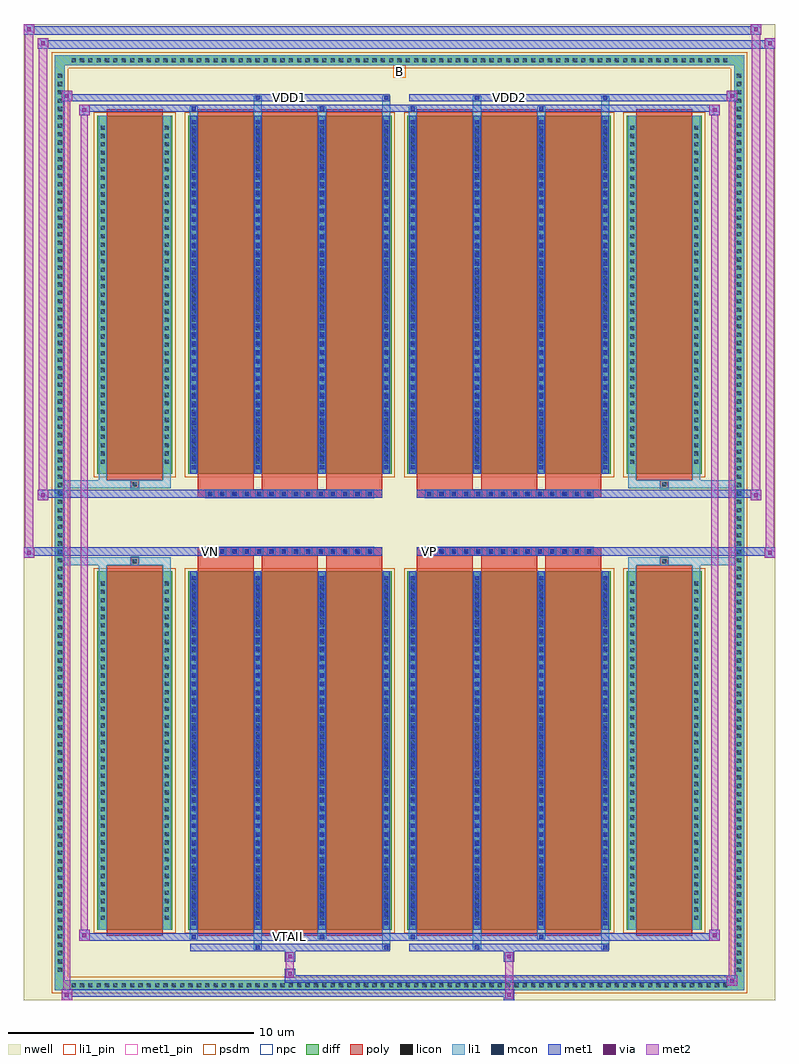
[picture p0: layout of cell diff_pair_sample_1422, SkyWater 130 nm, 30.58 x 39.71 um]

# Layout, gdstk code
import gdstk
lib = gdstk.Library(unit=1e-6, precision=5e-09)
def R(c, l, rs):  # rectangles x0, y0, x1, y1
    for r in rs: c.add(gdstk.rectangle(r[:2], r[2:], *l))
def A(c, l, x, y, w, h, nx, ny, dx, dy):  # array of equal rectangles
    R(c, l, [(x+i*dx, y+j*dy, x+i*dx+w, y+j*dy+h) for i in range(nx) for j in range(ny)])
def P(c, l, *ps):  # polygons
    for p in ps: c.add(gdstk.Polygon(p, *l))
nwell = (64, 20)
diff = (65, 20)
poly = (66, 20)
licon = (66, 44)
li1_pin = (67, 16)
li1 = (67, 20)
mcon = (67, 44)
met1_pin = (68, 16)
met1 = (68, 20)
via = (68, 44)
met2 = (69, 20)
psdm = (94, 20)
npc = (95, 20)

diff_pair_sample_1422 = lib.new_cell('diff_pair_sample_1422')
R(diff_pair_sample_1422, nwell, [(-15.29,-19.42,15.29,20.29), (-12.61,-17.61,-0.01,-0.805), (0.01,-17.61,12.61,-0.805), (-12.61,0.805,-0.01,17.61), (0.01,0.805,12.61,17.61)])
A(diff_pair_sample_1422, diff, -13.465, -19.02, 0.41, 0.41, 79, 2, 0.34, 37.63)
A(diff_pair_sample_1422, diff, -14.02, -18.395, 0.41, 0.41, 1, 108, 0, 0.34)
A(diff_pair_sample_1422, diff, 13.61, -18.395, 0.41, 0.41, 1, 108, 0, 0.34)
R(diff_pair_sample_1422, diff, [(-13.465,-19.02,13.465,-18.61), (-14.02,-18.395,-13.61,18.395), (13.61,-18.395,14.02,18.395), (-12.3,-16.565,-9.24,-1.985), (-8.6,-16.565,-0.32,-1.985), (0.32,-16.565,8.6,-1.985), (9.24,-16.565,12.3,-1.985), (-12.3,1.985,-9.24,16.565), (-8.6,1.985,-0.32,16.565), (0.32,1.985,8.6,16.565), (9.24,1.985,12.3,16.565), (-13.465,18.61,13.465,19.02)])
P(diff_pair_sample_1422, diff, [(14.02,19.02),(-14.02,19.02),(-14.02,-18.61),(-13.61,-18.61),(-13.61,18.61),(13.61,18.61),(13.61,-18.61),(-13.61,-18.61),(-14.02,-18.61),(-14.02,-19.02),(14.02,-19.02)])
A(diff_pair_sample_1422, poly, -8.21, -16.815, 2.28, 15.08, 3, 2, 2.61, 18.55)
A(diff_pair_sample_1422, poly, 0.71, -16.815, 2.28, 15.08, 3, 2, 2.61, 18.55)
A(diff_pair_sample_1422, poly, -8.21, -1.735, 2.28, 0.4, 3, 2, 2.61, 3.07)
A(diff_pair_sample_1422, poly, 0.71, -1.735, 2.28, 0.4, 3, 2, 2.61, 3.07)
A(diff_pair_sample_1422, poly, -7.875, -1.335, 0.33, 0.33, 14, 2, 0.5, 2.34)
A(diff_pair_sample_1422, poly, 1.045, -1.335, 0.33, 0.33, 14, 2, 0.5, 2.34)
R(diff_pair_sample_1422, poly, [(-11.91,-16.815,-9.63,-1.735), (9.63,-16.815,11.91,-1.735), (-10.935,-1.735,-10.605,-1.405), (-10.935,-1.735,-10.605,-1.405), (10.605,-1.735,10.935,-1.405), (10.605,-1.735,10.935,-1.405), (-8.21,-1.335,-0.71,-1.005), (0.71,-1.335,8.21,-1.005), (-8.21,1.005,-0.71,1.335), (0.71,1.005,8.21,1.335), (-10.935,1.405,-10.605,1.735), (-10.935,1.405,-10.605,1.735), (10.605,1.405,10.935,1.735), (10.605,1.405,10.935,1.735), (-11.91,1.735,-9.63,16.815), (9.63,1.735,11.91,16.815)])
A(diff_pair_sample_1422, licon, -13.345, -18.9, 0.17, 0.17, 79, 2, 0.34, 37.63)
A(diff_pair_sample_1422, licon, -13.9, -18.275, 0.17, 0.17, 1, 108, 0, 0.34)
A(diff_pair_sample_1422, licon, 13.73, -18.275, 0.17, 0.17, 1, 108, 0, 0.34)
A(diff_pair_sample_1422, licon, -12.16, -16.16, 0.17, 0.17, 1, 41, 0, 0.34)
A(diff_pair_sample_1422, licon, -9.55, -16.16, 0.17, 0.17, 1, 41, 0, 0.34)
A(diff_pair_sample_1422, licon, -8.46, -16.16, 0.17, 0.17, 4, 41, 2.61, 0.34)
A(diff_pair_sample_1422, licon, 0.46, -16.16, 0.17, 0.17, 4, 41, 2.61, 0.34)
A(diff_pair_sample_1422, licon, 9.38, -16.16, 0.17, 0.17, 1, 41, 0, 0.34)
A(diff_pair_sample_1422, licon, 11.99, -16.16, 0.17, 0.17, 1, 41, 0, 0.34)
A(diff_pair_sample_1422, licon, -7.795, -1.255, 0.17, 0.17, 14, 2, 0.5, 2.34)
A(diff_pair_sample_1422, licon, 1.125, -1.255, 0.17, 0.17, 14, 2, 0.5, 2.34)
A(diff_pair_sample_1422, licon, -12.16, 2.39, 0.17, 0.17, 1, 41, 0, 0.34)
A(diff_pair_sample_1422, licon, -9.55, 2.39, 0.17, 0.17, 1, 41, 0, 0.34)
A(diff_pair_sample_1422, licon, -8.46, 2.39, 0.17, 0.17, 4, 41, 2.61, 0.34)
A(diff_pair_sample_1422, licon, 0.46, 2.39, 0.17, 0.17, 4, 41, 2.61, 0.34)
A(diff_pair_sample_1422, licon, 9.38, 2.39, 0.17, 0.17, 1, 41, 0, 0.34)
A(diff_pair_sample_1422, licon, 11.99, 2.39, 0.17, 0.17, 1, 41, 0, 0.34)
R(diff_pair_sample_1422, licon, [(-10.855,-1.655,-10.685,-1.485), (10.685,-1.655,10.855,-1.485), (-10.855,1.485,-10.685,1.655), (10.685,1.485,10.855,1.655)])
R(diff_pair_sample_1422, li1_pin, [(-0.25,18.11,0.25,18.61)])
A(diff_pair_sample_1422, li1, -13.425, -18.98, 0.33, 0.33, 79, 2, 0.34, 37.63)
A(diff_pair_sample_1422, li1, -13.98, -18.355, 0.33, 0.33, 1, 108, 0, 0.34)
A(diff_pair_sample_1422, li1, 13.65, -18.355, 0.33, 0.33, 1, 108, 0, 0.34)
A(diff_pair_sample_1422, li1, -8.54, -16.565, 0.33, 14.58, 4, 2, 2.61, 18.55)
A(diff_pair_sample_1422, li1, 0.38, -16.565, 0.33, 14.58, 4, 2, 2.61, 18.55)
A(diff_pair_sample_1422, li1, -8.46, -16.38, 0.17, 0.17, 4, 40, 2.61, 0.36)
A(diff_pair_sample_1422, li1, -8.46, -16.38, 0.17, 14.21, 4, 2, 2.61, 18.55)
A(diff_pair_sample_1422, li1, 0.46, -16.38, 0.17, 0.17, 4, 40, 2.61, 0.36)
A(diff_pair_sample_1422, li1, 0.46, -16.38, 0.17, 14.21, 4, 2, 2.61, 18.55)
A(diff_pair_sample_1422, li1, -12.24, -16.24, 0.33, 0.33, 1, 41, 0, 0.34)
A(diff_pair_sample_1422, li1, -9.63, -16.24, 0.33, 0.33, 1, 41, 0, 0.34)
A(diff_pair_sample_1422, li1, -8.54, -16.24, 0.33, 0.33, 4, 41, 2.61, 0.34)
A(diff_pair_sample_1422, li1, 0.38, -16.24, 0.33, 0.33, 4, 41, 2.61, 0.34)
A(diff_pair_sample_1422, li1, 9.3, -16.24, 0.33, 0.33, 1, 41, 0, 0.34)
A(diff_pair_sample_1422, li1, 11.91, -16.24, 0.33, 0.33, 1, 41, 0, 0.34)
A(diff_pair_sample_1422, li1, -7.875, -1.335, 0.33, 0.33, 14, 2, 0.5, 2.34)
A(diff_pair_sample_1422, li1, 1.045, -1.335, 0.33, 0.33, 14, 2, 0.5, 2.34)
A(diff_pair_sample_1422, li1, -8.46, 2.17, 0.17, 0.17, 4, 40, 2.61, 0.36)
A(diff_pair_sample_1422, li1, 0.46, 2.17, 0.17, 0.17, 4, 40, 2.61, 0.36)
A(diff_pair_sample_1422, li1, -12.24, 2.31, 0.33, 0.33, 1, 41, 0, 0.34)
A(diff_pair_sample_1422, li1, -9.63, 2.31, 0.33, 0.33, 1, 41, 0, 0.34)
A(diff_pair_sample_1422, li1, -8.54, 2.31, 0.33, 0.33, 4, 41, 2.61, 0.34)
A(diff_pair_sample_1422, li1, 0.38, 2.31, 0.33, 0.33, 4, 41, 2.61, 0.34)
A(diff_pair_sample_1422, li1, 9.3, 2.31, 0.33, 0.33, 1, 41, 0, 0.34)
A(diff_pair_sample_1422, li1, 11.91, 2.31, 0.33, 0.33, 1, 41, 0, 0.34)
R(diff_pair_sample_1422, li1, [(-14.02,-19.02,-13.61,-18.61), (-14.02,-19.02,-13.61,-18.61), (-13.61,-19.02,13.61,-18.61), (13.61,-19.02,14.02,-18.61), (13.61,-19.02,14.02,-18.61), (-14.02,-18.61,-13.61,18.61), (13.61,-18.61,14.02,18.61), (-5.93,-17.37,-5.6,-16.565), (-5.85,-17.37,-5.68,-17.2), (-0.71,-17.37,-0.38,-16.565), (-0.63,-17.37,-0.46,-17.2), (2.99,-17.37,3.32,-16.565), (3.07,-17.37,3.24,-17.2), (8.21,-17.37,8.54,-16.565), (8.29,-17.37,8.46,-17.2), (-8.54,-16.94,-8.21,-16.565), (-8.46,-16.94,-8.29,-16.77), (-3.32,-16.94,-2.99,-16.565), (-3.24,-16.94,-3.07,-16.77), (0.38,-16.94,0.71,-16.565), (0.46,-16.94,0.63,-16.77), (5.6,-16.94,5.93,-16.565), (5.68,-16.94,5.85,-16.77), (-12.24,-16.565,-11.91,-1.985), (-9.63,-16.565,-9.3,-1.985), (9.3,-16.565,9.63,-1.985), (11.91,-16.565,12.24,-1.985), (-12.24,-1.985,-11.91,-1.405), (-9.63,-1.985,-9.3,-1.405), (9.3,-1.985,9.63,-1.405), (11.91,-1.985,12.24,-1.405), (-14.02,-1.735,-10.935,-1.405), (-12.24,-1.735,-10.935,-1.405), (-10.935,-1.735,-10.605,-1.405), (-10.605,-1.735,-9.3,-1.405), (9.3,-1.735,10.605,-1.405), (10.605,-1.735,10.935,-1.405), (10.605,-1.735,14.02,-1.405), (10.935,-1.735,12.24,-1.405), (-14.02,1.405,-10.935,1.735), (-12.24,1.405,-10.935,1.735), (-12.24,1.405,-11.91,1.985), (-10.935,1.405,-10.605,1.735), (-10.605,1.405,-9.3,1.735), (-9.63,1.405,-9.3,1.985), (9.3,1.405,10.605,1.735), (9.3,1.405,9.63,1.985), (10.605,1.405,10.935,1.735), (10.605,1.405,14.02,1.735), (10.935,1.405,12.24,1.735), (11.91,1.405,12.24,1.985), (-12.24,1.985,-11.91,16.565), (-9.63,1.985,-9.3,16.565), (9.3,1.985,9.63,16.565), (11.91,1.985,12.24,16.565), (-8.54,16.565,-8.21,16.94), (-5.93,16.565,-5.6,17.37), (-3.32,16.565,-2.99,16.94), (-0.71,16.565,-0.38,17.37), (0.38,16.565,0.71,16.94), (2.99,16.565,3.32,17.37), (5.6,16.565,5.93,16.94), (8.21,16.565,8.54,17.37), (-8.46,16.77,-8.29,16.94), (-3.24,16.77,-3.07,16.94), (0.46,16.77,0.63,16.94), (5.68,16.77,5.85,16.94), (-5.85,17.2,-5.68,17.37), (-0.63,17.2,-0.46,17.37), (3.07,17.2,3.24,17.37), (8.29,17.2,8.46,17.37), (-14.02,18.61,-13.61,19.02), (-14.02,18.61,-13.61,19.02), (-13.61,18.61,13.61,19.02), (13.61,18.61,14.02,19.02), (13.61,18.61,14.02,19.02)])
A(diff_pair_sample_1422, mcon, -8.46, -16.38, 0.17, 0.17, 4, 40, 2.61, 0.36)
A(diff_pair_sample_1422, mcon, 0.46, -16.38, 0.17, 0.17, 4, 40, 2.61, 0.36)
A(diff_pair_sample_1422, mcon, -7.795, -1.255, 0.17, 0.17, 14, 2, 0.5, 2.34)
A(diff_pair_sample_1422, mcon, 1.125, -1.255, 0.17, 0.17, 14, 2, 0.5, 2.34)
A(diff_pair_sample_1422, mcon, -8.46, 2.17, 0.17, 0.17, 4, 40, 2.61, 0.36)
A(diff_pair_sample_1422, mcon, 0.46, 2.17, 0.17, 0.17, 4, 40, 2.61, 0.36)
R(diff_pair_sample_1422, mcon, [(-5.85,-17.37,-5.68,-17.2), (-0.63,-17.37,-0.46,-17.2), (3.07,-17.37,3.24,-17.2), (8.29,-17.37,8.46,-17.2), (-8.46,-16.94,-8.29,-16.77), (-3.24,-16.94,-3.07,-16.77), (0.46,-16.94,0.63,-16.77), (5.68,-16.94,5.85,-16.77), (-8.46,16.77,-8.29,16.94), (-3.24,16.77,-3.07,16.94), (0.46,16.77,0.63,16.94), (5.68,16.77,5.85,16.94), (-5.85,17.2,-5.68,17.37), (-0.63,17.2,-0.46,17.37), (3.07,17.2,3.24,17.37), (8.29,17.2,8.46,17.37)])
R(diff_pair_sample_1422, met1_pin, [(-4.595,-16.98,-4.325,-16.71), (-7.845,-1.295,-7.575,-1.025), (1.075,-1.295,1.345,-1.025), (-4.595,17.16,-4.325,17.43), (4.325,17.16,4.595,17.43)])
A(diff_pair_sample_1422, met1, -8.52, -16.565, 0.29, 14.58, 4, 2, 2.61, 18.55)
A(diff_pair_sample_1422, met1, 0.4, -16.565, 0.29, 14.58, 4, 2, 2.61, 18.55)
A(diff_pair_sample_1422, met1, -8.52, -16.44, 0.29, 0.29, 4, 40, 2.61, 0.36)
A(diff_pair_sample_1422, met1, 0.4, -16.44, 0.29, 0.29, 4, 40, 2.61, 0.36)
A(diff_pair_sample_1422, met1, -7.855, -1.315, 0.29, 0.29, 14, 2, 0.5, 2.34)
A(diff_pair_sample_1422, met1, 1.065, -1.315, 0.29, 0.29, 14, 2, 0.5, 2.34)
A(diff_pair_sample_1422, met1, -8.52, 2.11, 0.29, 0.29, 4, 40, 2.61, 0.36)
A(diff_pair_sample_1422, met1, 0.4, 2.11, 0.29, 0.29, 4, 40, 2.61, 0.36)
R(diff_pair_sample_1422, met1, [(-13.75,-19.42,-13.32,-18.99), (4.245,-19.42,4.675,-18.99), (-13.75,-19.28,4.675,-18.99), (13.32,-18.85,13.75,-18.42), (-4.675,-18.71,13.75,-18.42), (-4.675,-18.57,-4.245,-18.14), (-4.675,-17.86,-4.245,-17.43), (4.245,-17.86,4.675,-17.43), (-8.52,-17.43,-0.4,-17.14), (-5.91,-17.43,-5.62,-17.14), (-0.69,-17.43,-0.4,-17.14), (0.4,-17.43,8.52,-17.14), (3.01,-17.43,3.3,-17.14), (8.23,-17.43,8.52,-17.14), (-13.04,-17,-12.61,-16.57), (-13.04,-17,-8.52,-16.71), (-8.52,-17,-8.23,-16.71), (-8.52,-17,-0.4,-16.71), (-3.3,-17,-3.01,-16.71), (-0.4,-17,0.4,-16.71), (0.4,-17,0.69,-16.71), (0.4,-17,8.52,-16.71), (5.62,-17,5.91,-16.71), (8.52,-17,13.04,-16.71), (12.61,-17,13.04,-16.57), (-15.29,-1.435,-14.86,-1.005), (14.86,-1.435,15.29,-1.005), (-15.29,-1.335,-0.71,-1.005), (-8.21,-1.335,-0.71,-1.005), (0.71,-1.335,8.21,-1.005), (0.71,-1.335,15.29,-1.005), (-14.72,0.905,-14.29,1.335), (14.29,0.905,14.72,1.335), (-14.72,1.005,-8.21,1.335), (-8.21,1.005,-0.71,1.335), (0.71,1.005,8.21,1.335), (8.21,1.005,14.72,1.335), (-13.04,16.57,-12.61,17), (12.61,16.57,13.04,17), (-13.04,16.71,-8.52,17), (-8.52,16.71,-8.23,17), (-8.52,16.71,-0.4,17), (-3.3,16.71,-3.01,17), (-0.4,16.71,0.4,17), (0.4,16.71,0.69,17), (0.4,16.71,8.52,17), (5.62,16.71,5.91,17), (8.52,16.71,13.04,17), (-13.75,17.14,-13.32,17.57), (-13.75,17.14,-8.52,17.43), (-8.52,17.14,-0.4,17.43), (-5.91,17.14,-5.62,17.43), (-0.69,17.14,-0.4,17.43), (0.4,17.14,8.52,17.43), (3.01,17.14,3.3,17.43), (8.23,17.14,8.52,17.43), (8.52,17.14,13.75,17.43), (13.32,17.14,13.75,17.57), (-14.72,19.29,-14.29,19.72), (-14.72,19.29,-12.61,19.62), (-12.61,19.29,12.61,19.62), (12.61,19.29,15.29,19.62), (14.86,19.29,15.29,19.72), (-15.29,19.86,-14.86,20.29), (-15.29,19.86,-12.61,20.19), (-12.61,19.86,12.61,20.19), (12.61,19.86,14.72,20.19), (14.29,19.86,14.72,20.29)])
R(diff_pair_sample_1422, via, [(-13.61,-19.28,-13.46,-19.13), (4.385,-19.28,4.535,-19.13), (13.46,-18.71,13.61,-18.56), (-4.535,-18.43,-4.385,-18.28), (-4.535,-17.72,-4.385,-17.57), (4.385,-17.72,4.535,-17.57), (-12.9,-16.86,-12.75,-16.71), (12.75,-16.86,12.9,-16.71), (-15.15,-1.295,-15,-1.145), (15,-1.295,15.15,-1.145), (-14.58,1.045,-14.43,1.195), (14.43,1.045,14.58,1.195), (-12.9,16.71,-12.75,16.86), (12.75,16.71,12.9,16.86), (-13.61,17.28,-13.46,17.43), (13.46,17.28,13.61,17.43), (-14.58,19.43,-14.43,19.58), (15,19.43,15.15,19.58), (-15.15,20,-15,20.15), (14.43,20,14.58,20.15)])
R(diff_pair_sample_1422, met2, [(-13.75,-19.42,-13.32,-18.99), (-13.68,-19.42,-13.39,17.57), (-13.39,-19.42,-13.32,-18.99), (-13.7,-19.37,-13.37,-19.04), (4.295,-19.37,4.625,-19.04), (4.295,-19.04,4.625,-17.81), (13.32,-18.85,13.75,-18.42), (13.39,-18.85,13.68,17.57), (13.68,-18.85,13.75,-18.42), (13.37,-18.8,13.7,-18.47), (-4.625,-18.52,-4.295,-18.19), (-4.625,-18.19,-4.295,-17.81), (-4.625,-17.81,-4.295,-17.48), (4.295,-17.81,4.625,-17.48), (-13.04,-17,-12.61,-16.57), (-12.97,-17,-12.68,17), (-12.68,-17,-12.61,-16.57), (12.61,-17,13.04,-16.57), (12.68,-17,12.97,17), (12.97,-17,13.04,-16.57), (-12.99,-16.95,-12.66,-16.62), (12.66,-16.95,12.99,-16.62), (-15.29,-1.435,-14.86,-1.005), (-15.24,-1.435,-14.91,20.29), (-14.91,-1.435,-14.86,-1.005), (14.86,-1.435,15.29,-1.005), (14.91,-1.435,15.24,19.72), (15.24,-1.435,15.29,-1.005), (-15.24,-1.385,-14.91,-1.055), (14.91,-1.385,15.24,-1.055), (-14.72,0.905,-14.29,1.335), (-14.67,0.905,-14.34,19.72), (-14.34,0.905,-14.29,1.335), (14.29,0.905,14.72,1.335), (14.34,0.905,14.67,20.29), (14.67,0.905,14.72,1.335), (-14.67,0.955,-14.34,1.285), (14.34,0.955,14.67,1.285), (-13.04,16.57,-12.61,17), (-12.68,16.57,-12.61,17), (12.61,16.57,13.04,17), (12.97,16.57,13.04,17), (-12.99,16.62,-12.66,16.95), (12.66,16.62,12.99,16.95), (-13.75,17.14,-13.32,17.57), (-13.39,17.14,-13.32,17.57), (13.32,17.14,13.75,17.57), (13.68,17.14,13.75,17.57), (-13.7,17.19,-13.37,17.52), (13.37,17.19,13.7,17.52), (-14.72,19.29,-14.29,19.72), (-14.34,19.29,-14.29,19.72), (14.86,19.29,15.29,19.72), (15.24,19.29,15.29,19.72), (-14.67,19.34,-14.34,19.67), (14.91,19.34,15.24,19.67), (-15.29,19.86,-14.86,20.29), (-14.91,19.86,-14.86,20.29), (14.29,19.86,14.72,20.29), (14.67,19.86,14.72,20.29), (-15.24,19.91,-14.91,20.24), (14.34,19.91,14.67,20.24)])
R(diff_pair_sample_1422, psdm, [(-12.43,-16.695,-9.11,-1.855), (-8.73,-16.695,-0.19,-1.855), (0.19,-16.695,8.73,-1.855), (9.11,-16.695,12.43,-1.855), (-12.43,1.855,-9.11,16.695), (-8.73,1.855,-0.19,16.695), (0.19,1.855,8.73,16.695), (9.11,1.855,12.43,16.695)])
P(diff_pair_sample_1422, psdm, [(14.15,19.15),(-14.15,19.15),(-14.15,-18.48),(-13.48,-18.48),(-13.48,18.48),(13.48,18.48),(13.48,-18.48),(-13.48,-18.48),(-14.15,-18.48),(-14.15,-19.15),(14.15,-19.15)])
A(diff_pair_sample_1422, npc, -7.895, -1.355, 0.37, 0.37, 14, 2, 0.5, 2.34)
A(diff_pair_sample_1422, npc, 1.025, -1.355, 0.37, 0.37, 14, 2, 0.5, 2.34)
R(diff_pair_sample_1422, npc, [(-10.955,-1.755,-10.585,-1.385), (10.585,-1.755,10.955,-1.385), (-7.895,-1.355,-7.025,-0.985), (-7.895,-1.355,-7.025,-0.985), (-7.395,-1.355,-6.525,-0.985), (-7.395,-1.355,-6.525,-0.985), (-6.895,-1.355,-6.025,-0.985), (-6.895,-1.355,-6.025,-0.985), (-6.395,-1.355,-5.525,-0.985), (-6.395,-1.355,-5.525,-0.985), (-5.895,-1.355,-5.025,-0.985), (-5.895,-1.355,-5.025,-0.985), (-5.395,-1.355,-4.525,-0.985), (-5.395,-1.355,-4.525,-0.985), (-4.895,-1.355,-4.025,-0.985), (-4.895,-1.355,-4.025,-0.985), (-4.395,-1.355,-3.525,-0.985), (-4.395,-1.355,-3.525,-0.985), (-3.895,-1.355,-3.025,-0.985), (-3.895,-1.355,-3.025,-0.985), (-3.395,-1.355,-2.525,-0.985), (-3.395,-1.355,-2.525,-0.985), (-2.895,-1.355,-2.025,-0.985), (-2.895,-1.355,-2.025,-0.985), (-2.395,-1.355,-1.525,-0.985), (-2.395,-1.355,-1.525,-0.985), (-1.895,-1.355,-1.025,-0.985), (-1.895,-1.355,-1.025,-0.985), (1.025,-1.355,1.895,-0.985), (1.025,-1.355,1.895,-0.985), (1.525,-1.355,2.395,-0.985), (1.525,-1.355,2.395,-0.985), (2.025,-1.355,2.895,-0.985), (2.025,-1.355,2.895,-0.985), (2.525,-1.355,3.395,-0.985), (2.525,-1.355,3.395,-0.985), (3.025,-1.355,3.895,-0.985), (3.025,-1.355,3.895,-0.985), (3.525,-1.355,4.395,-0.985), (3.525,-1.355,4.395,-0.985), (4.025,-1.355,4.895,-0.985), (4.025,-1.355,4.895,-0.985), (4.525,-1.355,5.395,-0.985), (4.525,-1.355,5.395,-0.985), (5.025,-1.355,5.895,-0.985), (5.025,-1.355,5.895,-0.985), (5.525,-1.355,6.395,-0.985), (5.525,-1.355,6.395,-0.985), (6.025,-1.355,6.895,-0.985), (6.025,-1.355,6.895,-0.985), (6.525,-1.355,7.395,-0.985), (6.525,-1.355,7.395,-0.985), (7.025,-1.355,7.895,-0.985), (7.025,-1.355,7.895,-0.985), (-7.895,0.985,-7.025,1.355), (-7.895,0.985,-7.025,1.355), (-7.395,0.985,-6.525,1.355), (-7.395,0.985,-6.525,1.355), (-6.895,0.985,-6.025,1.355), (-6.895,0.985,-6.025,1.355), (-6.395,0.985,-5.525,1.355), (-6.395,0.985,-5.525,1.355), (-5.895,0.985,-5.025,1.355), (-5.895,0.985,-5.025,1.355), (-5.395,0.985,-4.525,1.355), (-5.395,0.985,-4.525,1.355), (-4.895,0.985,-4.025,1.355), (-4.895,0.985,-4.025,1.355), (-4.395,0.985,-3.525,1.355), (-4.395,0.985,-3.525,1.355), (-3.895,0.985,-3.025,1.355), (-3.895,0.985,-3.025,1.355), (-3.395,0.985,-2.525,1.355), (-3.395,0.985,-2.525,1.355), (-2.895,0.985,-2.025,1.355), (-2.895,0.985,-2.025,1.355), (-2.395,0.985,-1.525,1.355), (-2.395,0.985,-1.525,1.355), (-1.895,0.985,-1.025,1.355), (-1.895,0.985,-1.025,1.355), (1.025,0.985,1.895,1.355), (1.025,0.985,1.895,1.355), (1.525,0.985,2.395,1.355), (1.525,0.985,2.395,1.355), (2.025,0.985,2.895,1.355), (2.025,0.985,2.895,1.355), (2.525,0.985,3.395,1.355), (2.525,0.985,3.395,1.355), (3.025,0.985,3.895,1.355), (3.025,0.985,3.895,1.355), (3.525,0.985,4.395,1.355), (3.525,0.985,4.395,1.355), (4.025,0.985,4.895,1.355), (4.025,0.985,4.895,1.355), (4.525,0.985,5.395,1.355), (4.525,0.985,5.395,1.355), (5.025,0.985,5.895,1.355), (5.025,0.985,5.895,1.355), (5.525,0.985,6.395,1.355), (5.525,0.985,6.395,1.355), (6.025,0.985,6.895,1.355), (6.025,0.985,6.895,1.355), (6.525,0.985,7.395,1.355), (6.525,0.985,7.395,1.355), (7.025,0.985,7.895,1.355), (7.025,0.985,7.895,1.355), (-10.955,1.385,-10.585,1.755), (10.585,1.385,10.955,1.755)])
diff_pair_sample_1422.add(gdstk.Label('VTAIL', (-4.46,-16.845), layer=68, texttype=5))
diff_pair_sample_1422.add(gdstk.Label('VN', (-7.71,-1.16), layer=68, texttype=5))
diff_pair_sample_1422.add(gdstk.Label('VP', (1.21,-1.16), layer=68, texttype=5))
diff_pair_sample_1422.add(gdstk.Label('B', (0,18.36), layer=67, texttype=5))
diff_pair_sample_1422.add(gdstk.Label('VDD2', (4.46,17.295), layer=68, texttype=5))
diff_pair_sample_1422.add(gdstk.Label('VDD1', (-4.46,17.295), layer=68, texttype=5))

lib.write_gds('diff_pair_sample_1422.gds')
